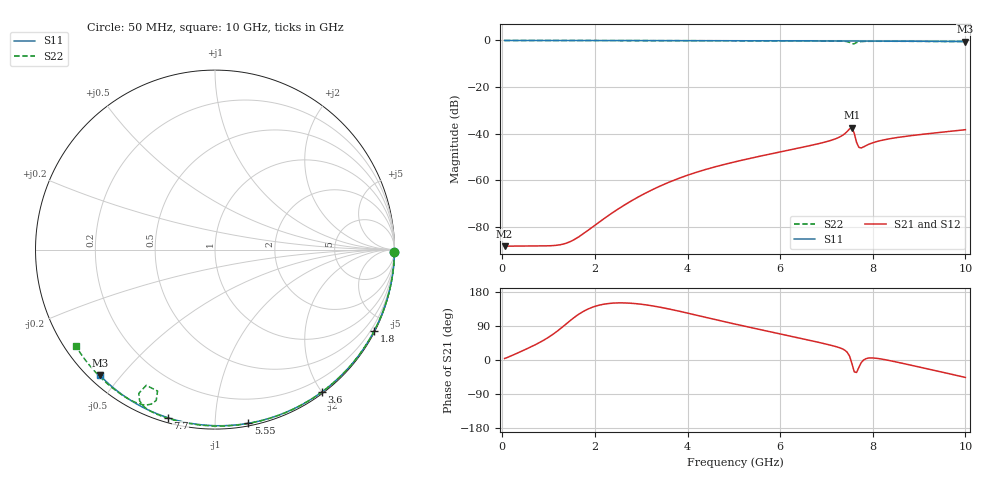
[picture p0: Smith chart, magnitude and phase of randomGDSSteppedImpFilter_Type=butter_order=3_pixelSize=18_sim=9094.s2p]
! freq	dB(S11)	phase(S11)	dB(S12)	phase(S12)
!  dB(S21)	phase(S21)	dB(S22)	phase(S22)
!S-par simulation data
#  GHz  S  DB  R 50
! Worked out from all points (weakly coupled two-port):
!   200 points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, 50 MHz to 10 GHz, reference 50 ohm
!   highest |S21| = -37.47 dB at 7.55 GHz (marker M1); lowest = -88.3 dB at 50 MHz (marker M2)
!   lowest |S11| = -0.5 dB at 10 GHz (marker M3), VSWR 38.61, Z = 1.55 - j22 ohm
!   |S11| at or under -10 dB: nowhere
!   |S22| runs from -1.4 to 0.0 dB; largest |S21 - S12| = 0
!   S11 on the Smith chart (normalised r, x): 50 MHz: open; 1.8 GHz: 0.04, -4.15; 3.6 GHz: 0.02, -2.00; 5.55 GHz: 0.02, -1.21; 7.7 GHz: 0.02, -0.76; 10 GHz: 0.03, -0.44
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0.05  -0.00 -0.8  -88.25 4.1  -88.25 4.1  -0.00 -0.8
0.85  -0.01 -12.9  -88.13 49.2  -88.13 49.2  -0.01 -14.3
1.75  -0.03 -26.4  -82.91 128.2  -82.91 128.2  -0.04 -29.1
1.8  -0.03 -27.1  -82.20 131.5  -82.20 131.5  -0.04 -30.0
1.95  -0.04 -29.3  -80.01 139.4  -80.01 139.4  -0.04 -32.4
2.7  -0.05 -40.3  -69.84 150.3  -69.84 150.3  -0.06 -44.4
3.4  -0.07 -50.2  -62.53 139.5  -62.53 139.5  -0.07 -55.4
3.6  -0.07 -53.0  -60.81 134.6  -60.81 134.6  -0.08 -58.4
4.25  -0.09 -62.0  -56.19 116.6  -56.19 116.6  -0.10 -68.3
5.05  -0.11 -72.7  -51.95 94.1  -51.95 94.1  -0.12 -80.0
5.55  -0.13 -79.2  -49.71 80.8  -49.71 80.8  -0.14 -87.1
6.7  -0.18 -93.7  -44.87 50.2  -44.87 50.2  -0.20 -103.3
7.25  -0.21 -100.4  -41.74 33.7  -41.74 33.7  -0.27 -111.8
7.5  -0.22 -103.4  -37.91 9.9  -37.91 9.9  -0.85 -117.9
7.55  -0.23 -104.0  -37.47 -9.5  -37.47 -9.5  -1.43 -116.9
7.6  -0.23 -104.6  -39.80 -31.2  -39.80 -31.2  -1.41 -112.1
7.65  -0.24 -105.2  -43.73 -32.9  -43.73 -32.9  -0.89 -111.3
7.7  -0.24 -105.8  -45.87 -19.5  -45.87 -19.5  -0.62 -112.4
7.75  -0.25 -106.4  -46.11 -7.2  -46.11 -7.2  -0.49 -113.7
8  -0.26 -109.3  -43.89 5.4  -43.89 5.4  -0.35 -118.4
8.35  -0.29 -113.4  -42.22 -1.2  -42.22 -1.2  -0.35 -123.5
10  -0.45 -132.4  -38.29 -46.0  -38.29 -46.0  -0.51 -145.2
